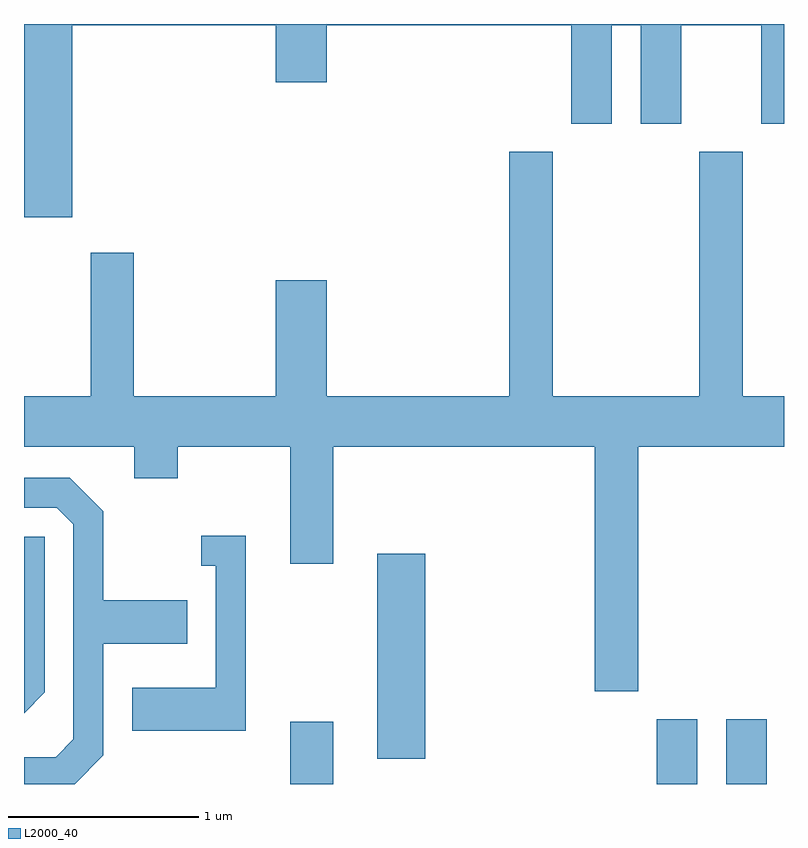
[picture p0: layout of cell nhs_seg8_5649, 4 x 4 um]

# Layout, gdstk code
import gdstk
lib = gdstk.Library(unit=1e-6, precision=1e-09)
def R(c, l, rs):  # rectangles x0, y0, x1, y1
    for r in rs: c.add(gdstk.rectangle(r[:2], r[2:], *l))
def P(c, l, *ps):  # polygons
    for p in ps: c.add(gdstk.Polygon(p, *l))
L2000_40 = (2000, 40)

nhs_seg8_5649 = lib.new_cell('nhs_seg8_5649')
R(nhs_seg8_5649, L2000_40, [(355.011,1912.342,355.239,1912.669), (356.941,1912.342,357.154,1912.684), (357.306,1912.342,357.519,1912.684), (355.471,1912.476,355.724,1913.554)])
P(nhs_seg8_5649, L2000_40, [(353.864,1916.336),(354.936,1916.336),(354.936,1916.036),(355.204,1916.036),(355.204,1916.336),(356.491,1916.336),(356.491,1915.816),(356.704,1915.816),(356.704,1916.336),(356.856,1916.336),(356.856,1915.816),(357.069,1915.816),(357.069,1916.336),(357.491,1916.336),(357.491,1915.816),(357.611,1915.816),(357.611,1916.342),(353.611,1916.342),(353.611,1915.326),(353.864,1915.326)],
  [(356.844,1914.116),(357.611,1914.116),(357.611,1914.384),(357.394,1914.384),(357.394,1915.669),(357.166,1915.669),(357.166,1914.384),(356.394,1914.384),(356.394,1915.669),(356.166,1915.669),(356.166,1914.384),(355.204,1914.384),(355.204,1914.994),(354.936,1914.994),(354.936,1914.384),(354.189,1914.384),(354.189,1915.139),(353.961,1915.139),(353.961,1914.384),(353.611,1914.384),(353.611,1914.116),(354.191,1914.116),(354.191,1913.951),(354.419,1913.951),(354.419,1914.116),(355.011,1914.116),(355.011,1913.501),(355.239,1913.501),(355.239,1914.116),(356.616,1914.116),(356.616,1912.831),(356.844,1912.831)],
  [(354.029,1912.494),(354.029,1913.081),(354.469,1913.081),(354.469,1913.309),(354.029,1913.309),(354.029,1913.777),(353.852,1913.954),(353.611,1913.954),(353.611,1913.796),(353.784,1913.796),(353.871,1913.709),(353.871,1912.577),(353.779,1912.484),(353.611,1912.484),(353.611,1912.342),(353.878,1912.342)],
  [(354.779,1913.649),(354.543,1913.649),(354.543,1913.491),(354.621,1913.491),(354.621,1912.849),(354.181,1912.849),(354.181,1912.621),(354.779,1912.621)],
  [(353.719,1912.824),(353.719,1913.644),(353.611,1913.644),(353.611,1912.715)])

lib.write_gds('nhs_seg8_5649.gds')
